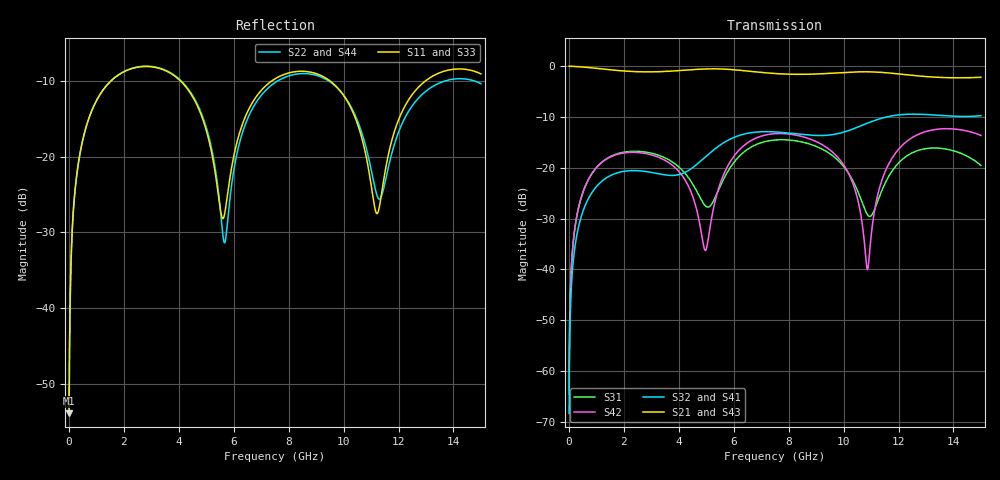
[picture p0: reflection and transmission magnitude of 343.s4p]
! Created with skrf 1.8.0 (http://scikit-rf.org).
# GHz S RI R 50.0
!freq ReS11 ImS11 ReS12 ImS12 ReS13 ImS13
! ReS14 ImS14
! ReS21 ImS21 ReS22 ImS22 ReS23 ImS23
! ReS24 ImS24
! ReS31 ImS31 ReS32 ImS32 ReS33 ImS33
! ReS34 ImS34
! ReS41 ImS41 ReS42 ImS42 ReS43 ImS43
! ReS44 ImS44
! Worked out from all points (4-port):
!   2499 points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, 5 MHz to 15 GHz, reference 50 ohm
!   strongest paths, dB at 5 MHz, 3.476 GHz, 7.19 GHz, 11.1 GHz, 15 GHz:
!     S21: 0.0, -1.1, -1.3, -1.2, -2.2
!     S43: 0.0, -1.1, -1.3, -1.2, -2.2
!     S32: -68.3, -21.4, -12.9, -10.8, -9.8
!     S41: -68.3, -21.4, -12.9, -10.8, -9.8
!     S42: -64.5, -18.5, -13.5, -29.4, -13.6
!     S31: -64.5, -18.0, -14.8, -28.6, -19.6
!   lowest |S11| = -53.9 dB at 5 MHz (marker M1), VSWR 1.00, Z = 50.2 + j0.122 ohm
!   |S11| at or under -10 dB: start of sweep to 1.509 GHz; 4.08 GHz to 7.357 GHz (3.277 GHz wide, 57.3 % of centre); 9.532 GHz to 12.96 GHz (3.424 GHz wide, 30.5 % of centre)
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0.005  0.0016 0.00122  0.9984 -0.00311  7.85e-05 0.00059  -7.65e-05 -0.000376
       0.9984 -0.00311  0.0016 0.00122  -7.65e-05 -0.000376  7.84e-05 0.00059
       7.85e-05 0.00059  -7.65e-05 -0.000376  0.0016 0.00122  0.9984 -0.00311
       -7.65e-05 -0.000376  7.84e-05 0.00059  0.9984 -0.00311  0.0016 0.00122
0.3126303  0.0229 0.0804  0.9688 -0.1935  0.01 0.0351  -0.00826 -0.0222
           0.9688 -0.1935  0.0229 0.0804  -0.00827 -0.0222  0.00966 0.0352
           0.01 0.0351  -0.00827 -0.0222  0.0229 0.0804  0.9688 -0.1935
           -0.00826 -0.0222  0.00966 0.0352  0.9688 -0.1935  0.0229 0.0804
1.569404  0.2665 0.1839  0.5595 -0.7251  0.1197 0.0541  -0.0848 -0.00822
          0.5595 -0.7251  0.2679 0.1831  -0.0848 -0.00814  0.1149 0.0605
          0.1197 0.0541  -0.0848 -0.00814  0.2666 0.1839  0.5595 -0.7251
          -0.0848 -0.00822  0.1149 0.0605  0.5595 -0.7251  0.268 0.1831
5.464777  0.04 -0.033  -0.927 -0.1455  -0.0382 0.0489  -0.0241 0.1626
          -0.927 -0.1455  0.0291 -0.0457  -0.0227 0.1628  0.023 0.0605
          -0.0382 0.0489  -0.0227 0.1628  0.0407 -0.0342  -0.9269 -0.1457
          -0.0241 0.1626  0.023 0.0605  -0.9269 -0.1457  0.029 -0.047
8.791163  0.3592 -0.0629  0.0307 0.832  0.1547 -0.0709  0.1931 -0.0771
          0.0307 0.832  0.3519 -0.0402  0.193 -0.0804  0.1611 -0.1029
          0.1547 -0.0709  0.193 -0.0804  0.3585 -0.0623  0.0317 0.832
          0.1931 -0.0771  0.1611 -0.1029  0.0317 0.832  0.3522 -0.0419
10.86703  0.0566 -0.0721  0.8121 0.3362  -0.0329 -0.011  0.0988 -0.256
          0.8121 0.3362  0.0717 -0.0788  0.0936 -0.258  0.00963 -0.00258
          -0.0329 -0.011  0.0936 -0.258  0.0594 -0.0727  0.8124 0.3349
          0.0988 -0.256  0.00963 -0.00258  0.8124 0.3349  0.0699 -0.0814
15  0.3298 -0.1317  -0.1752 -0.7555  0.0652 -0.0826  -0.3034 0.1129
    -0.1752 -0.7555  0.2982 -0.0683  -0.3015 0.1224  0.0603 -0.199
    0.0652 -0.0826  -0.3015 0.1224  0.3248 -0.1286  -0.1805 -0.756
    -0.3034 0.1129  0.0603 -0.199  -0.1805 -0.756  0.2926 -0.0742
